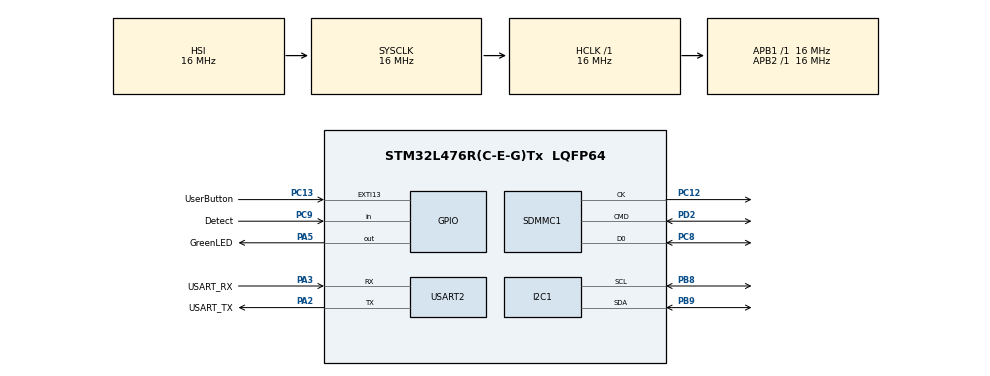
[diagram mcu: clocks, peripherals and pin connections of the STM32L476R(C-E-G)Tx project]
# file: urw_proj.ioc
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FATFS.BSP.number=1
FATFS._LFN_UNICODE=0
FATFS._MAX_SS=4096
FATFS._STRF_ENCODE=3
FATFS._USE_LFN=1
FATFS0.BSP.STBoard=false
FATFS0.BSP.api=Unknown
FATFS0.BSP.instance=PC9
FATFS0.BSP.ip=GPIO
FATFS0.BSP.mode=Input
FATFS0.BSP.name=Detect_SDIO
FATFS0.BSP.solution=PC9
I2C1.OwnAddress=0x76
I2C1.Timing=0x00503D58
Mcu.Family=STM32L4
Mcu.Name=STM32L476R(C-E-G)Tx
Mcu.Package=LQFP64
NVIC.PriorityGroup=NVIC_PRIORITYGROUP_4
NVIC.RTC_WKUP_IRQn=true\:0\:0\:false\:false\:true\:true\:true\:true
PA13\ (JTMS-SWDIO).GPIO_Label=TMS
PA13\ (JTMS-SWDIO).Mode=Serial_Wire
PA13\ (JTMS-SWDIO).Signal=SYS_JTMS-SWDIO
PA14\ (JTCK-SWCLK).GPIO_Label=TCK
PA14\ (JTCK-SWCLK).Mode=Serial_Wire
PA14\ (JTCK-SWCLK).Signal=SYS_JTCK-SWCLK
PA2.GPIO_Label=USART_TX
PA2.GPIO_Mode=GPIO_MODE_AF_PP
PA2.GPIO_PuPd=GPIO_NOPULL
PA2.GPIO_Speed=GPIO_SPEED_FREQ_VERY_HIGH
PA2.Mode=Asynchronous
PA2.Signal=USART2_TX
PA3.GPIO_Label=USART_RX
PA3.GPIO_Mode=GPIO_MODE_AF_PP
PA3.GPIO_PuPd=GPIO_NOPULL
PA3.GPIO_Speed=GPIO_SPEED_FREQ_VERY_HIGH
PA3.Mode=Asynchronous
PA3.Signal=USART2_RX
PA5.GPIO_Label=GreenLED
PA5.GPIO_ModeDefaultOutputPP=GPIO_MODE_OUTPUT_PP
PA5.GPIO_PuPd=GPIO_NOPULL
PA5.GPIO_Speed=GPIO_SPEED_FREQ_LOW
PA5.Signal=GPIO_Output
PB3\ (JTDO-TRACESWO).GPIO_Label=SWO
PB3\ (JTDO-TRACESWO).Signal=SYS_JTDO-SWO
PB8.Mode=I2C
PB8.Signal=I2C1_SCL
PB9.Mode=I2C
PB9.Signal=I2C1_SDA
PC12.Mode=SD_1_bit
PC12.Signal=SDMMC1_CK
PC13.GPIO_Label=UserButton
PC13.GPIO_ModeDefaultEXTI=GPIO_MODE_IT_FALLING
PC13.GPIO_PuPd=GPIO_NOPULL
PC13.Signal=GPXTI13
PC14-OSC32_IN\ (PC14).Mode=LSE-External-Oscillator
PC14-OSC32_IN\ (PC14).Signal=RCC_OSC32_IN
PC15-OSC32_OUT\ (PC15).Mode=LSE-External-Oscillator
PC15-OSC32_OUT\ (PC15).Signal=RCC_OSC32_OUT
PC8.Mode=SD_1_bit
PC8.Signal=SDMMC1_D0
PC9.GPIO_Label=Detect
PC9.Signal=GPIO_Input
PD2.Mode=SD_1_bit
PD2.Signal=SDMMC1_CMD
PH0-OSC_IN\ (PH0).Signal=RCC_OSC_IN
PH1-OSC_OUT\ (PH1).Signal=RCC_OSC_OUT
ProjectManager.HeapSize=0x200
ProjectManager.StackSize=0x1000
ProjectManager.TargetToolchain=STM32CubeIDE
RCC.ADCFreq_Value=64000000
RCC.AHBFreq_Value=16000000
RCC.APB1Freq_Value=16000000
RCC.APB1TimFreq_Value=16000000
RCC.APB2Freq_Value=16000000
RCC.APB2TimFreq_Value=16000000
RCC.CK48CLockSelection=RCC_USBCLKSOURCE_MSI
RCC.CortexFreq_Value=16000000
RCC.HCLKFreq_Value=16000000
RCC.HSE_VALUE=8000000
RCC.HSI_VALUE=16000000
RCC.MSI_VALUE=4000000
RCC.PLLN=10
RCC.PLLSourceVirtual=RCC_PLLSOURCE_HSI
RCC.PREFETCH_ENABLE=1
RCC.RTCClockSelection=RCC_RTCCLKSOURCE_LSE
RCC.SYSCLKFreq_VALUE=16000000
RCC.SYSCLKSource=RCC_SYSCLKSOURCE_HSI
RCC.USBFreq_Value=4000000
RCC.VCOOutputFreq_Value=160000000
RTC.Date=26
RTC.Format=RTC_FORMAT_BIN
RTC.Hours=18
RTC.Minutes=47
RTC.WakeUpClock-WakeUp=RTC_WAKEUPCLOCK_CK_SPRE_16BITS
RTC.WakeUpCounter-WakeUp=0x3c
RTC.WeekDay=RTC_WEEKDAY_SUNDAY
RTC.Year=25
USART2.VirtualMode-Asynchronous=VM_ASYNC
VP_FATFS_VS_SDIO.Mode=SDIO
VP_RTC_VS_RTC_Activate.Mode=RTC_Enabled
VP_RTC_VS_RTC_Calendar.Mode=RTC_Calendar
VP_RTC_VS_RTC_WakeUp_intern.Mode=WakeUp
VP_SYS_VS_LPOM.Mode=PowerOptimisation
board=NUCLEO-L476RG

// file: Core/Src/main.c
/* USER CODE BEGIN Header */
/**
  ******************************************************************************
  * @file           : main.c
  * @brief          : Main program body
  ******************************************************************************
  * @attention
  *
  * Copyright (c) 2025 STMicroelectronics.
  * All rights reserved.
  *
  * This software is licensed under terms that can be found in the LICENSE file
  * in the root directory of this software component.
  * If no LICENSE file comes with this software, it is provided AS-IS.
  *
  ******************************************************************************
  */
/* USER CODE END Header */
#include "main.h"
#include "fatfs.h"

/* USER CODE BEGIN Includes */
#include "bmp280.h"
#include <stdio.h>
#include <string.h>
#include <stdbool.h>
/* USER CODE END Includes */

/* USER CODE BEGIN PD */
#define MY_PARAMS 1
/* USER CODE END PD */

I2C_HandleTypeDef hi2c1;

RTC_HandleTypeDef hrtc;

SD_HandleTypeDef hsd1;

UART_HandleTypeDef huart2;

/* USER CODE BEGIN PV */
BMP280_HandleTypedef sensor;
FATFS *pSDFatfs = NULL;
RTC_TimeTypeDef time;
RTC_DateTypeDef date;
/* USER CODE END PV */

void SystemClock_Config(void);
static void MX_GPIO_Init(void);
static void MX_USART2_UART_Init(void);
static void MX_I2C1_Init(void);
static void MX_SDMMC1_SD_Init(void);
static void MX_RTC_Init(void);
/* USER CODE BEGIN PFP */
void printParams(bmp280_params_t* params);
/* USER CODE END PFP */

int main(void)
{

  /* MCU Configuration--------------------------------------------------------*/

  /* Reset of all peripherals, Initializes the Flash interface and the Systick. */
  HAL_Init();

  /* Configure the system clock */
  SystemClock_Config();

  /* Initialize all configured peripherals */
  MX_GPIO_Init();
  MX_USART2_UART_Init();
  MX_I2C1_Init();
  MX_SDMMC1_SD_Init();
  MX_FATFS_Init();
  MX_RTC_Init();
  /* USER CODE BEGIN 2 */
  sensor.i2c = &hi2c1;
  sensor.addr = BMP280_I2C_ADDRESS_0;

  bmp280_params_t sensorParams;
  FRESULT res;

#if !MY_PARAMS
  bmp280_init_default_params(&sensorParams);
#else

  sensorParams.filter = BMP280_FILTER_OFF;
  sensorParams.mode = BMP280_MODE_FORCED;
  sensorParams.oversampling_humidity = BMP280_ULTRA_LOW_POWER;
  sensorParams.oversampling_pressure = BMP280_ULTRA_LOW_POWER;
  sensorParams.oversampling_temperature = BMP280_ULTRA_LOW_POWER;
  //sensorParams.standby = BMP280_STANDBY_;
#endif

  bool initCode = false;
  initCode =  bmp280_init(&sensor, &sensorParams);
  if(initCode)
  {
	  printParams(&sensorParams);
  }
  pSDFatfs = &SDFatFS;
  res = f_mount(pSDFatfs, (const TCHAR*)"", 1);

  if(!res == FR_OK)
	  Error_Handler();
  res = f_mount(NULL, (const TCHAR*)"", 0);

  /* USER CODE END 2 */

  /* Infinite loop */
  /* USER CODE BEGIN WHILE */

  bool isMeasuring = true;
  FIL logFile;
  char writeBuffer[150] = {0};
  const char* fileName = "dane.csv";
  unsigned int bytesToWrite = strlen(writeBuffer);
  unsigned int bytesWritten;
  float temp = 0.0f, press= 0.0f, hum = 0.0f;
  const float pressureScale = 1.0f / 1000.0f;

  while (1)
  {
	  HAL_GPIO_TogglePin(GreenLED_GPIO_Port, GreenLED_Pin);
	  bmp280_force_measurement(&sensor);
	  isMeasuring = true;
	  while(isMeasuring)
	  {
		  isMeasuring= bmp280_is_measuring(&sensor);

	  }

	  bmp280_read_float(&sensor, &temp, &press, &hum);
	  HAL_RTC_GetTime(&hrtc, &time, RTC_FORMAT_BIN);
	  HAL_RTC_GetDate(&hrtc, &date, RTC_FORMAT_BIN);
	  press *= pressureScale;
	  snprintf(writeBuffer,
			  sizeof(writeBuffer),
			  "%d/%d/%d,%d:%d:%d,Temperature: %0.2f Celsius degrees,Pressure: %0.2f hPa\r\n",
			  date.Date, date.Month, date.Year,
			  time.Hours, time.Minutes, time.Seconds,
			  temp, press);

	  res = f_mount(pSDFatfs,(const TCHAR*) "", 1);
	  res = f_open(&logFile, (const TCHAR*)fileName, FA_OPEN_APPEND |
			  FA_WRITE);
	  if(res != FR_OK)
	  {
		  printf("Opening file failed! res = %d\r\n", res);
		  continue;
	  }
	  bytesToWrite = (unsigned int)strlen(writeBuffer);
	  res = f_write(&logFile, writeBuffer, bytesToWrite, &bytesWritten);
	  if(res != FR_OK)
	  {
		  printf("Writing operation failed! res = %d\r\n", res);
		  continue;
	  }
	  if(bytesWritten < bytesToWrite)
	  {
		  printf("Disk is full!\r\n");
	  }
	  res = f_close(&logFile);
	  if(res != FR_OK)
	  {
		  printf("Closing operation failed! res= %d\r\n", res);
		  continue;
	  }
	  res = f_mount(NULL, (const TCHAR*)"", 0);
	  HAL_UART_Transmit(&huart2, (uint8_t*)writeBuffer, strlen(writeBuffer), 20);
	  HAL_GPIO_TogglePin(GreenLED_GPIO_Port, GreenLED_Pin);
	  HAL_SuspendTick();
	  HAL_RTCEx_SetWakeUpTimer_IT(&hrtc, 0x384, RTC_WAKEUPCLOCK_CK_SPRE_16BITS);

    /* USER CODE END WHILE */

    /* USER CODE BEGIN 3 */
	  HAL_PWREx_EnterSTOP2Mode(PWR_STOPENTRY_WFI);

	  HAL_ResumeTick();
	  HAL_RTCEx_DeactivateWakeUpTimer(&hrtc);
	  SystemClock_Config();

  }
  /* USER CODE END 3 */
}

void SystemClock_Config(void)
{
  RCC_OscInitTypeDef RCC_OscInitStruct = {0};
  RCC_ClkInitTypeDef RCC_ClkInitStruct = {0};

  /** Configure the main internal regulator output voltage
  */
  if (HAL_PWREx_ControlVoltageScaling(PWR_REGULATOR_VOLTAGE_SCALE1) != HAL_OK)
  {
    Error_Handler();
  }

  /** Configure LSE Drive Capability
  */
  HAL_PWR_EnableBkUpAccess();
  __HAL_RCC_LSEDRIVE_CONFIG(RCC_LSEDRIVE_LOW);

  /** Initializes the RCC Oscillators according to the specified parameters
  * in the RCC_OscInitTypeDef structure.
  */
  RCC_OscInitStruct.OscillatorType = RCC_OSCILLATORTYPE_HSI|RCC_OSCILLATORTYPE_LSE
                              |RCC_OSCILLATORTYPE_MSI;
  RCC_OscInitStruct.LSEState = RCC_LSE_ON;
  RCC_OscInitStruct.HSIState = RCC_HSI_ON;
  RCC_OscInitStruct.HSICalibrationValue = RCC_HSICALIBRATION_DEFAULT;
  RCC_OscInitStruct.MSIState = RCC_MSI_ON;
  RCC_OscInitStruct.MSICalibrationValue = 0;
  RCC_OscInitStruct.MSIClockRange = RCC_MSIRANGE_6;
  RCC_OscInitStruct.PLL.PLLState = RCC_PLL_NONE;
  if (HAL_RCC_OscConfig(&RCC_OscInitStruct) != HAL_OK)
  {
    Error_Handler();
  }

  /** Initializes the CPU, AHB and APB buses clocks
  */
  RCC_ClkInitStruct.ClockType = RCC_CLOCKTYPE_HCLK|RCC_CLOCKTYPE_SYSCLK
                              |RCC_CLOCKTYPE_PCLK1|RCC_CLOCKTYPE_PCLK2;
  RCC_ClkInitStruct.SYSCLKSource = RCC_SYSCLKSOURCE_HSI;
  RCC_ClkInitStruct.AHBCLKDivider = RCC_SYSCLK_DIV1;
  RCC_ClkInitStruct.APB1CLKDivider = RCC_HCLK_DIV1;
  RCC_ClkInitStruct.APB2CLKDivider = RCC_HCLK_DIV1;

  if (HAL_RCC_ClockConfig(&RCC_ClkInitStruct, FLASH_LATENCY_0) != HAL_OK)
  {
    Error_Handler();
  }

  /** Enable MSI Auto calibration
  */
  HAL_RCCEx_EnableMSIPLLMode();
}

static void MX_I2C1_Init(void)
{

  hi2c1.Instance = I2C1;
  hi2c1.Init.Timing = 0x00503D58;
  hi2c1.Init.OwnAddress1 = 236;
  hi2c1.Init.AddressingMode = I2C_ADDRESSINGMODE_7BIT;
  hi2c1.Init.DualAddressMode = I2C_DUALADDRESS_DISABLE;
  hi2c1.Init.OwnAddress2 = 0;
  hi2c1.Init.OwnAddress2Masks = I2C_OA2_NOMASK;
  hi2c1.Init.GeneralCallMode = I2C_GENERALCALL_DISABLE;
  hi2c1.Init.NoStretchMode = I2C_NOSTRETCH_DISABLE;
  if (HAL_I2C_Init(&hi2c1) != HAL_OK)
  {
    Error_Handler();
  }

  /** Configure Analogue filter
  */
  if (HAL_I2CEx_ConfigAnalogFilter(&hi2c1, I2C_ANALOGFILTER_ENABLE) != HAL_OK)
  {
    Error_Handler();
  }

  /** Configure Digital filter
  */
  if (HAL_I2CEx_ConfigDigitalFilter(&hi2c1, 0) != HAL_OK)
  {
    Error_Handler();
  }

}

static void MX_RTC_Init(void)
{

  RTC_TimeTypeDef sTime = {0};
  RTC_DateTypeDef sDate = {0};

  /** Initialize RTC Only
  */
  hrtc.Instance = RTC;
  hrtc.Init.HourFormat = RTC_HOURFORMAT_24;
  hrtc.Init.AsynchPrediv = 127;
  hrtc.Init.SynchPrediv = 255;
  hrtc.Init.OutPut = RTC_OUTPUT_DISABLE;
  hrtc.Init.OutPutRemap = RTC_OUTPUT_REMAP_NONE;
  hrtc.Init.OutPutPolarity = RTC_OUTPUT_POLARITY_HIGH;
  hrtc.Init.OutPutType = RTC_OUTPUT_TYPE_OPENDRAIN;
  if (HAL_RTC_Init(&hrtc) != HAL_OK)
  {
    Error_Handler();
  }

  /* USER CODE BEGIN Check_RTC_BKUP */
HAL_RTC_GetTime(&hrtc, &time, RTC_FORMAT_BIN);
HAL_RTC_GetDate(&hrtc, &date, RTC_FORMAT_BIN);
return;
  /* USER CODE END Check_RTC_BKUP */

  /** Initialize RTC and set the Time and Date
  */
  sTime.Hours = 18;
  sTime.Minutes = 47;
  sTime.Seconds = 0;
  sTime.DayLightSaving = RTC_DAYLIGHTSAVING_NONE;
  sTime.StoreOperation = RTC_STOREOPERATION_RESET;
  if (HAL_RTC_SetTime(&hrtc, &sTime, RTC_FORMAT_BIN) != HAL_OK)
  {
    Error_Handler();
  }
  sDate.WeekDay = RTC_WEEKDAY_SUNDAY;
  sDate.Month = RTC_MONTH_JANUARY;
  sDate.Date = 26;
  sDate.Year = 25;

  if (HAL_RTC_SetDate(&hrtc, &sDate, RTC_FORMAT_BIN) != HAL_OK)
  {
    Error_Handler();
  }

}

static void MX_SDMMC1_SD_Init(void)
{

  hsd1.Instance = SDMMC1;
  hsd1.Init.ClockEdge = SDMMC_CLOCK_EDGE_RISING;
  hsd1.Init.ClockBypass = SDMMC_CLOCK_BYPASS_DISABLE;
  hsd1.Init.ClockPowerSave = SDMMC_CLOCK_POWER_SAVE_DISABLE;
  hsd1.Init.BusWide = SDMMC_BUS_WIDE_1B;
  hsd1.Init.HardwareFlowControl = SDMMC_HARDWARE_FLOW_CONTROL_DISABLE;
  hsd1.Init.ClockDiv = 0;

}

static void MX_USART2_UART_Init(void)
{

  huart2.Instance = USART2;
  huart2.Init.BaudRate = 115200;
  huart2.Init.WordLength = UART_WORDLENGTH_8B;
  huart2.Init.StopBits = UART_STOPBITS_1;
  huart2.Init.Parity = UART_PARITY_NONE;
  huart2.Init.Mode = UART_MODE_TX_RX;
  huart2.Init.HwFlowCtl = UART_HWCONTROL_NONE;
  huart2.Init.OverSampling = UART_OVERSAMPLING_16;
  huart2.Init.OneBitSampling = UART_ONE_BIT_SAMPLE_DISABLE;
  huart2.AdvancedInit.AdvFeatureInit = UART_ADVFEATURE_NO_INIT;
  if (HAL_UART_Init(&huart2) != HAL_OK)
  {
    Error_Handler();
  }

}

static void MX_GPIO_Init(void)
{
  GPIO_InitTypeDef GPIO_InitStruct = {0};

  /* GPIO Ports Clock Enable */
  __HAL_RCC_GPIOC_CLK_ENABLE();
  __HAL_RCC_GPIOH_CLK_ENABLE();
  __HAL_RCC_GPIOA_CLK_ENABLE();
  __HAL_RCC_GPIOD_CLK_ENABLE();
  __HAL_RCC_GPIOB_CLK_ENABLE();

  /*Configure GPIO pin Output Level */
  HAL_GPIO_WritePin(GreenLED_GPIO_Port, GreenLED_Pin, GPIO_PIN_RESET);

  /*Configure GPIO pin : UserButton_Pin */
  GPIO_InitStruct.Pin = UserButton_Pin;
  GPIO_InitStruct.Mode = GPIO_MODE_IT_FALLING;
  GPIO_InitStruct.Pull = GPIO_NOPULL;
  HAL_GPIO_Init(UserButton_GPIO_Port, &GPIO_InitStruct);

  /*Configure GPIO pin : GreenLED_Pin */
  GPIO_InitStruct.Pin = GreenLED_Pin;
  GPIO_InitStruct.Mode = GPIO_MODE_OUTPUT_PP;
  GPIO_InitStruct.Pull = GPIO_NOPULL;
  GPIO_InitStruct.Speed = GPIO_SPEED_FREQ_LOW;
  HAL_GPIO_Init(GreenLED_GPIO_Port, &GPIO_InitStruct);

  /*Configure GPIO pin : Detect_Pin */
  GPIO_InitStruct.Pin = Detect_Pin;
  GPIO_InitStruct.Mode = GPIO_MODE_INPUT;
  GPIO_InitStruct.Pull = GPIO_NOPULL;
  HAL_GPIO_Init(Detect_GPIO_Port, &GPIO_InitStruct);

}

/* USER CODE BEGIN 4 */
int __io_putchar(uint8_t ch)
{
	HAL_UART_Transmit(&huart2, (uint8_t*)&ch, 1, HAL_MAX_DELAY);
	return ch;
}
void printParams(bmp280_params_t* params)
{

	//filter
	switch(params->filter)
	{
	case BMP280_FILTER_OFF:
		printf("\r\nFILTER OFF\r\n");
		break;
	case BMP280_FILTER_2:
		printf("\r\nFILTER COEFFICIENT: 2\r\n");
		break;
	case BMP280_FILTER_4:
		printf("\r\nFILTER COEFFICIENT: 4\r\n");
		break;
	case BMP280_FILTER_8:
		printf("\r\nFILTER COEFFICIENT: 8\r\n");
		break;
	case BMP280_FILTER_16:
		printf("\r\nFILTER COEFFICIENT: 16\r\n");
		break;
	default:
		printf("\r\nFilter code not recognized!\r\n");
		break;
	}
	//mode
	switch(params->mode)
	{
		case BMP280_MODE_SLEEP:
			printf("MODE: SLEEP\r\n");
			break;
		case BMP280_MODE_FORCED:
			printf("MODE: FORCED\r\n");
			break;
		case BMP280_MODE_NORMAL:
			printf("MODE: NORMAL\r\n");
			break;
		default:
			printf("Mode code not recognized!\r\n");
			break;
	}
	//oversampling
	BMP280_Oversampling* oversampling = &params->oversampling_pressure;
	const char* text[3] = {"PRESSURE", "TEMPERATURE", "HUMIDITY"};
	for(short i = 0; i <3; i++)
	{

		switch(*oversampling)
		{
			case BMP280_SKIPPED:
				printf("%s OVERSAMPLING: SKIPPED\r\n", text[i]);
				break;
			case BMP280_ULTRA_LOW_POWER:
				printf("%s OVERSAMPLING: ULTRA LOW POWER\r\n", text[i]);
				break;
			case BMP280_LOW_POWER:
				printf("%s OVERSAMPLING: LOW POWER\r\n", text[i]);
				break;
			case BMP280_STANDARD:
				printf("%s OVERSAMPLING: STANDARD\r\n", text[i]);
				break;
			case BMP280_HIGH_RES:
				printf("%s OVERSAMPLING: HIGH RESOLUTION\r\n", text[i]);
				break;
			case BMP280_ULTRA_HIGH_RES:
				printf("%s OVERSAMPLING: ULTRA HIGH RESOLUTION\r\n", text[i]);
				break;
			default:
				printf("Oversampling code not recognized!\r\n");
				break;
		}
		if(i <2)
			++oversampling;
	}

	//standby

	switch(params->standby)
	{
	case BMP280_STANDBY_05:
		printf("STANDBY TIME 0.5 ms\r\n");
		break;
	case BMP280_STANDBY_62:
		printf("STANDBY TIME 62 ms\r\n");
		break;
	case BMP280_STANDBY_125:
		printf("STANDBY TIME 125 ms\r\n");
		break;
	case BMP280_STANDBY_250:
		printf("STANDBY TIME 250 ms\r\n");
		break;
	case BMP280_STANDBY_500:
		printf("STANDBY TIME 500 ms\r\n");
		break;
	case BMP280_STANDBY_1000:
		printf("STANDBY TIME 1s\r\n");
		break;
	case BMP280_STANDBY_2000:
		printf("STANDBY TIME 2s\r\n");
		break;
	case BMP280_STANDBY_4000:
		printf("STANDBY TIME 4s\r\n");
		break;
	default:
		printf("Standby code not recognized\r\n");
		break;

	}
	printf("\r\n");
}

void HAL_RTCEx_WakeUpTimerEventCallback(RTC_HandleTypeDef* handler)
{
	if(handler == &hrtc)
	{
		//printf("Woke up\r\n");

	}
}
/* USER CODE END 4 */

void Error_Handler(void)
{
  __disable_irq();
  while (1)
  {
  }
}
